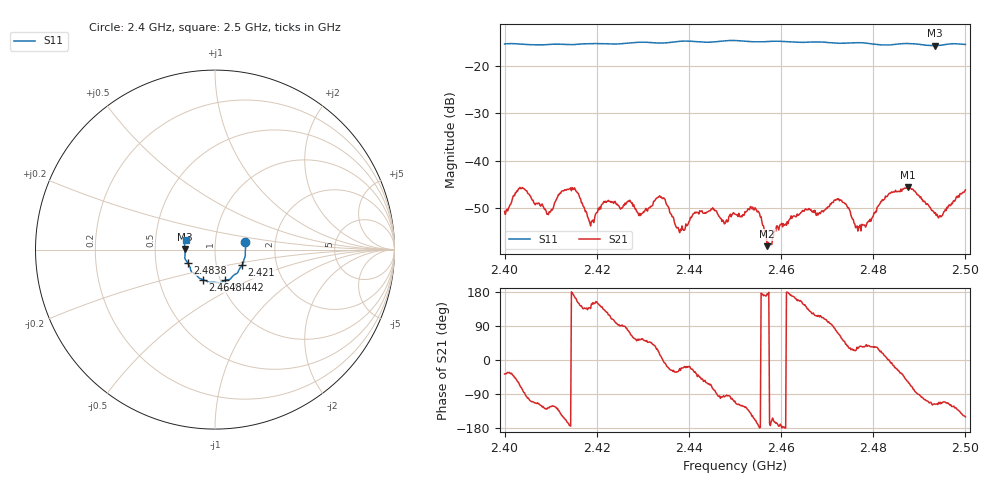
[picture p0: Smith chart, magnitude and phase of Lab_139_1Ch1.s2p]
# Hz S RI R 50
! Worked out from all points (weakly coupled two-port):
!   601 points, 2.4 GHz to 2.5 GHz, reference 50 ohm
!   highest |S21| = -45.67 dB at 2.4875 GHz (marker M1); lowest = -58.2 dB at 2.457 GHz (marker M2)
!   lowest |S11| = -15.6 dB at 2.4933 GHz (marker M3), VSWR 1.40, Z = 35.8 + j0.045 ohm
!   |S11| at or under -10 dB: start of sweep to end of sweep
!   S12 and S22 are empty: the file has one direction only
!   S11 on the Smith chart (normalised r, x): 2.4 GHz: 1.40, +0.12; 2.421 GHz: 1.33, -0.24; 2.4442 GHz: 1.05, -0.37; 2.4648 GHz: 0.83, -0.29; 2.4838 GHz: 0.73, -0.11; 2.5 GHz: 0.72, +0.08
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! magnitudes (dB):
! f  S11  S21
! 2.4 GHz  -15.2  -50.8
! 2.4035 GHz  -15.3  -46.0
! 2.4095 GHz  -15.3  -51.5
! 2.413 GHz  -15.3  -46.2
! 2.4167 GHz  -15.3  -48.9
! 2.4188 GHz  -15.2  -52.9
! 2.421 GHz  -15.2  -49.4
! 2.4333 GHz  -15.0  -47.8
! 2.4378 GHz  -14.7  -54.9
! 2.4442 GHz  -14.9  -50.8
! 2.45 GHz  -14.5  -51.4
! 2.4548 GHz  -14.8  -50.9
! 2.457 GHz  -14.7  -58.2
! 2.4648 GHz  -14.9  -50.7
! 2.4667 GHz  -14.8  -50.8
! 2.4727 GHz  -15.1  -48.5
! 2.4768 GHz  -15.0  -54.1
! 2.4833 GHz  -15.5  -47.1
! 2.4838 GHz  -15.4  -46.8
! 2.4875 GHz  -15.2  -45.7
! 2.4933 GHz  -15.6  -51.2
! 2.5 GHz  -15.3  -46.2
